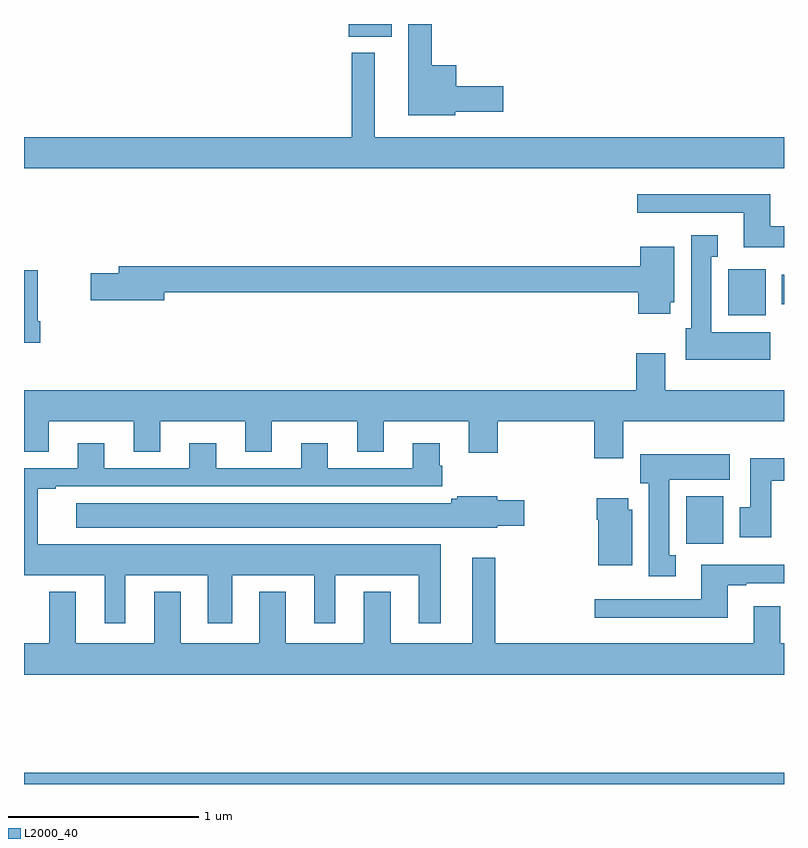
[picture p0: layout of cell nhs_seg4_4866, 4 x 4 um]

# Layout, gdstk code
import gdstk
lib = gdstk.Library(unit=1e-6, precision=1e-09)
def R(c, l, rs):  # rectangles x0, y0, x1, y1
    for r in rs: c.add(gdstk.rectangle(r[:2], r[2:], *l))
def P(c, l, *ps):  # polygons
    for p in ps: c.add(gdstk.Polygon(p, *l))
L2000_40 = (2000, 40)

nhs_seg4_4866 = lib.new_cell('nhs_seg4_4866')
R(nhs_seg4_4866, L2000_40, [(373,806.9,377,806.96), (376.485,808.164,376.681,808.414), (376.706,809.366,376.903,809.608), (376.988,809.425,377,809.581), (374.708,810.833,374.935,810.9)])
P(nhs_seg4_4866, L2000_40, [(375.27,810.437),(375.523,810.437),(375.523,810.572),(375.274,810.572),(375.274,810.682),(375.145,810.682),(375.145,810.9),(375.023,810.9),(375.023,810.419),(375.27,810.419)],
  [(377,810.304),(374.845,810.304),(374.845,810.748),(374.724,810.748),(374.724,810.304),(373,810.304),(373,810.14),(377,810.14)],
  [(377,809.836),(376.927,809.836),(376.927,810.004),(376.227,810.004),(376.227,809.907),(376.787,809.907),(376.787,809.726),(377,809.726)],
  [(376.927,809.278),(376.618,809.278),(376.618,809.675),(376.651,809.675),(376.651,809.788),(376.511,809.788),(376.511,809.298),(376.484,809.298),(376.484,809.132),(376.927,809.132)],
  [(376.402,809.436),(376.423,809.436),(376.423,809.728),(376.244,809.728),(376.244,809.624),(373.499,809.624),(373.499,809.588),(373.35,809.588),(373.35,809.446),(373.738,809.446),(373.738,809.488),(376.232,809.488),(376.232,809.376),(376.402,809.376)],
  [(373.085,809.335),(373.072,809.335),(373.072,809.604),(373,809.604),(373,809.223),(373.085,809.223)],
  [(376.153,808.808),(377,808.808),(377,808.972),(376.375,808.972),(376.375,809.167),(376.223,809.167),(376.223,808.972),(373,808.972),(373,808.648),(373.129,808.648),(373.129,808.808),(373.577,808.808),(373.577,808.648),(373.717,808.648),(373.717,808.808),(374.165,808.808),(374.165,808.648),(374.305,808.648),(374.305,808.808),(374.753,808.808),(374.753,808.648),(374.893,808.648),(374.893,808.808),(375.341,808.808),(375.341,808.644),(375.494,808.644),(375.494,808.808),(376.001,808.808),(376.001,808.614),(376.153,808.614)],
  [(373.534,807.998),(373.967,807.998),(373.967,807.747),(374.095,807.747),(374.095,807.998),(374.528,807.998),(374.528,807.747),(374.638,807.747),(374.638,807.998),(375.077,807.998),(375.077,807.747),(375.193,807.747),(375.193,808.162),(373.072,808.162),(373.072,808.455),(373.168,808.455),(373.168,808.467),(375.2,808.467),(375.2,808.575),(375.187,808.575),(375.187,808.693),(375.047,808.693),(375.047,808.563),(374.599,808.563),(374.599,808.693),(374.459,808.693),(374.459,808.563),(374.011,808.563),(374.011,808.693),(373.871,808.693),(373.871,808.563),(373.423,808.563),(373.423,808.693),(373.283,808.693),(373.283,808.563),(373,808.563),(373,807.998),(373.424,807.998),(373.424,807.747),(373.534,807.747)],
  [(376.429,808.105),(376.396,808.105),(376.396,808.502),(376.714,808.502),(376.714,808.636),(376.244,808.636),(376.244,808.482),(376.289,808.482),(376.289,807.993),(376.429,807.993)],
  [(376.933,808.496),(377,808.496),(377,808.615),(376.823,808.615),(376.823,808.356),(376.766,808.356),(376.766,808.2),(376.933,808.2)],
  [(375.492,808.259),(375.634,808.259),(375.634,808.393),(375.492,808.393),(375.492,808.414),(375.279,808.414),(375.279,808.401),(375.249,808.401),(375.249,808.378),(373.275,808.378),(373.275,808.25),(375.492,808.25)],
  [(376.201,808.344),(376.18,808.344),(376.18,808.405),(376.015,808.405),(376.015,808.292),(376.022,808.292),(376.022,808.052),(376.201,808.052)],
  [(377,807.64),(376.981,807.64),(376.981,807.835),(376.841,807.835),(376.841,807.64),(375.481,807.64),(375.481,808.09),(375.359,808.09),(375.359,807.64),(374.929,807.64),(374.929,807.913),(374.789,807.913),(374.789,807.64),(374.377,807.64),(374.377,807.913),(374.237,807.913),(374.237,807.64),(373.825,807.64),(373.825,807.913),(373.685,807.913),(373.685,807.64),(373.273,807.64),(373.273,807.913),(373.133,807.913),(373.133,807.64),(373,807.64),(373,807.476),(377,807.476)],
  [(376.705,807.945),(376.801,807.945),(376.801,807.957),(377,807.957),(377,808.054),(376.565,808.054),(376.565,807.873),(376.005,807.873),(376.005,807.776),(376.705,807.776)])

lib.write_gds('nhs_seg4_4866.gds')
